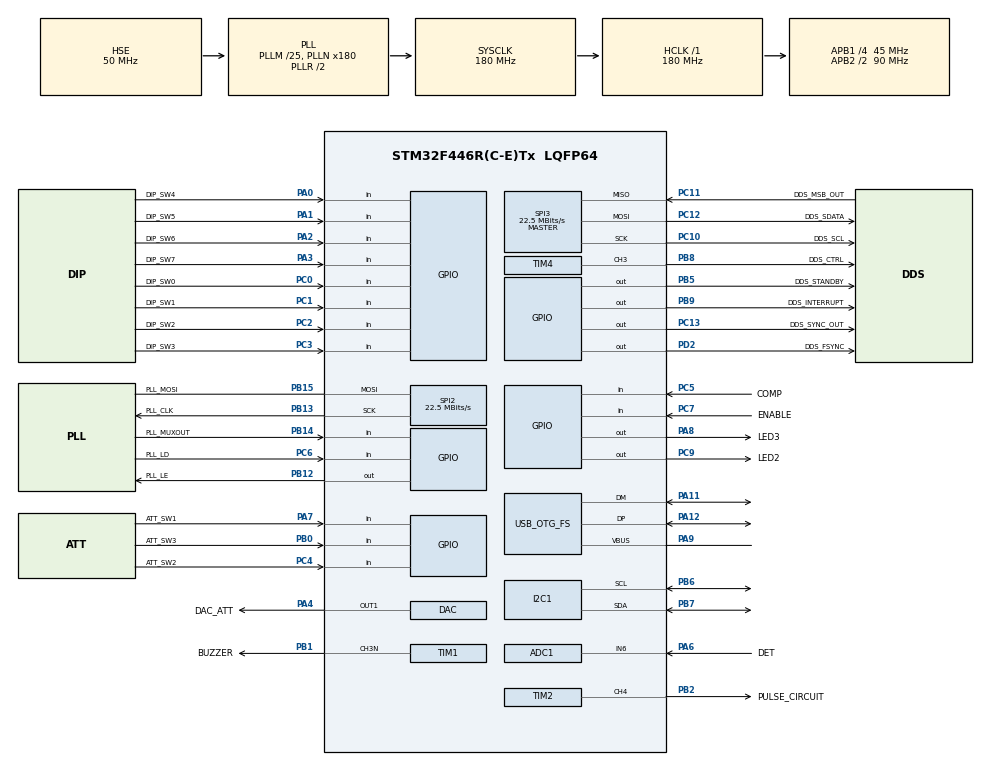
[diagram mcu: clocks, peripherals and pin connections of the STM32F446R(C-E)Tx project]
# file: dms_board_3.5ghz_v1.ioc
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ADC1.Channel-0\#ChannelRegularConversion=ADC_CHANNEL_6
ADC1.NbrOfConversionFlag=1
ADC1.Rank-0\#ChannelRegularConversion=1
ADC1.SamplingTime-0\#ChannelRegularConversion=ADC_SAMPLETIME_3CYCLES
ADC1.master=1
Dma.ADC1.0.Direction=DMA_PERIPH_TO_MEMORY
Dma.ADC1.0.FIFOMode=DMA_FIFOMODE_DISABLE
Dma.ADC1.0.Instance=DMA2_Stream0
Dma.ADC1.0.MemDataAlignment=DMA_MDATAALIGN_HALFWORD
Dma.ADC1.0.MemInc=DMA_MINC_ENABLE
Dma.ADC1.0.Mode=DMA_NORMAL
Dma.ADC1.0.PeriphDataAlignment=DMA_PDATAALIGN_HALFWORD
Dma.ADC1.0.PeriphInc=DMA_PINC_DISABLE
Dma.ADC1.0.Priority=DMA_PRIORITY_HIGH
Dma.Request0=ADC1
Mcu.Family=STM32F4
Mcu.Name=STM32F446R(C-E)Tx
Mcu.Package=LQFP64
NVIC.DMA2_Stream0_IRQn=true\:0\:0\:false\:false\:true\:false\:true\:true
NVIC.OTG_FS_IRQn=true\:0\:0\:false\:false\:true\:false\:true\:true
NVIC.PriorityGroup=NVIC_PRIORITYGROUP_4
NVIC.TIM3_IRQn=true\:0\:0\:false\:false\:true\:true\:true\:true
NVIC.TIM5_IRQn=true\:0\:0\:false\:false\:true\:true\:true\:true
PA0-WKUP.GPIO_Label=DIP_SW4
PA0-WKUP.Signal=GPIO_Input
PA1.GPIO_Label=DIP_SW5
PA1.Signal=GPIO_Input
PA11.Mode=Device_Only
PA11.Signal=USB_OTG_FS_DM
PA12.Mode=Device_Only
PA12.Signal=USB_OTG_FS_DP
PA13.Mode=JTAG_5_pins
PA13.Signal=SYS_JTMS-SWDIO
PA14.Mode=JTAG_5_pins
PA14.Signal=SYS_JTCK-SWCLK
PA15.Mode=JTAG_5_pins
PA15.Signal=SYS_JTDI
PA2.GPIO_Label=DIP_SW6
PA2.Signal=GPIO_Input
PA3.GPIO_Label=DIP_SW7
PA3.Signal=GPIO_Input
PA4.GPIO_Label=DAC_ATT
PA4.Signal=COMP_DAC1_group
PA6.GPIO_Label=DET
PA6.Signal=ADCx_IN6
PA7.GPIO_Label=ATT_SW1
PA7.Signal=GPIO_Input
PA8.GPIO_Label=LED3
PA8.Signal=GPIO_Output
PA9.Mode=Activate_VBUS
PA9.Signal=USB_OTG_FS_VBUS
PB0.GPIO_Label=ATT_SW3
PB0.Signal=GPIO_Input
PB1.GPIO_Label=BUZZER
PB1.Mode=Output Compare3 CH3N
PB1.Signal=TIM1_CH3N
PB12.GPIO_Label=PLL_LE
PB12.Signal=GPIO_Output
PB13.GPIO_Label=PLL_CLK
PB13.Mode=Simplex_Bidirectional_Master
PB13.Signal=SPI2_SCK
PB14.GPIO_Label=PLL_MUXOUT
PB14.Signal=GPIO_Input
PB15.GPIO_Label=PLL_MOSI
PB15.Mode=Simplex_Bidirectional_Master
PB15.Signal=SPI2_MOSI
PB2.GPIO_Label=PULSE_CIRCUIT
PB2.Signal=S_TIM2_CH4
PB3.Mode=JTAG_5_pins
PB3.Signal=SYS_JTDO-SWO
PB4.Mode=JTAG_5_pins
PB4.Signal=SYS_JTRST
PB5.GPIO_Label=DDS_STANDBY
PB5.Signal=GPIO_Output
PB6.Mode=I2C
PB6.Signal=I2C1_SCL
PB7.Mode=I2C
PB7.Signal=I2C1_SDA
PB8.GPIO_Label=DDS_CTRL
PB8.Signal=S_TIM4_CH3
PB9.GPIO_Label=DDS_INTERRUPT
PB9.Signal=GPIO_Output
PC0.GPIO_Label=DIP_SW0
PC0.Signal=GPIO_Input
PC1.GPIO_Label=DIP_SW1
PC1.Signal=GPIO_Input
PC10.GPIO_Label=DDS_SCL
PC10.Mode=Full_Duplex_Master
PC10.Signal=SPI3_SCK
PC11.GPIO_Label=DDS_MSB_OUT
PC11.Mode=Full_Duplex_Master
PC11.Signal=SPI3_MISO
PC12.GPIO_Label=DDS_SDATA
PC12.Mode=Full_Duplex_Master
PC12.Signal=SPI3_MOSI
PC13.GPIO_Label=DDS_SYNC_OUT
PC13.Signal=GPIO_Output
PC2.GPIO_Label=DIP_SW2
PC2.Signal=GPIO_Input
PC3.GPIO_Label=DIP_SW3
PC3.Signal=GPIO_Input
PC4.GPIO_Label=ATT_SW2
PC4.Signal=GPIO_Input
PC5.GPIO_Label=COMP
PC5.Signal=GPIO_Input
PC6.GPIO_Label=PLL_LD
PC6.Signal=GPIO_Input
PC7.GPIO_Label=ENABLE
PC7.Signal=GPIO_Input
PC9.GPIO_Label=LED2
PC9.Signal=GPIO_Output
PD2.GPIO_Label=DDS_FSYNC
PD2.Signal=GPIO_Output
PH0-OSC_IN.Mode=HSE-External-Clock-Source
PH0-OSC_IN.Signal=RCC_OSC_IN
PH1-OSC_OUT.Mode=HSE-External-Clock-Source
PH1-OSC_OUT.Signal=RCC_OSC_OUT
ProjectManager.HeapSize=0x600
ProjectManager.StackSize=0x600
ProjectManager.TargetToolchain=STM32CubeIDE
RCC.AHBFreq_Value=180000000
RCC.APB1CLKDivider=RCC_HCLK_DIV4
RCC.APB1Freq_Value=45000000
RCC.APB1TimFreq_Value=90000000
RCC.APB2CLKDivider=RCC_HCLK_DIV2
RCC.APB2Freq_Value=90000000
RCC.APB2TimFreq_Value=180000000
RCC.CortexFreq_Value=180000000
RCC.HCLKFreq_Value=180000000
RCC.HSE_VALUE=50000000
RCC.PLLM=25
RCC.PLLN=180
RCC.PLLSAIM=25
RCC.PLLSAIN=96
RCC.PLLSAIP=RCC_PLLSAIP_DIV4
RCC.SYSCLKFreq_VALUE=180000000
RCC.SYSCLKSource=RCC_SYSCLKSOURCE_PLLRCLK
RCC.USBCLockSelection=RCC_CLK48CLKSOURCE_PLLSAIP
RCC.USBFreq_Value=48000000
RCC.VCOOutputFreq_Value=360000000
SH.ADCx_IN6.0=ADC1_IN6,IN6
SH.COMP_DAC1_group.0=DAC_OUT1,DAC_OUT1
SH.S_TIM2_CH4.0=TIM2_CH4,Output Compare4 CH4
SH.S_TIM4_CH3.0=TIM4_CH3,Output Compare3 CH3
SPI2.CalculateBaudRate=22.5 MBits/s
SPI2.Direction=SPI_DIRECTION_1LINE
SPI2.Mode=SPI_MODE_MASTER
SPI2.VirtualType=VM_MASTER
SPI3.CalculateBaudRate=22.5 MBits/s
SPI3.Direction=SPI_DIRECTION_2LINES
SPI3.Mode=SPI_MODE_MASTER
SPI3.VirtualType=VM_MASTER
TIM1.Channel-Output\ Compare3\ CH3N=TIM_CHANNEL_3
TIM2.Channel-Output\ Compare4\ CH4=TIM_CHANNEL_4
TIM3.ClockDivision=TIM_CLOCKDIVISION_DIV2
TIM3.Period=10
TIM3.Prescaler=45
TIM4.Channel-Output\ Compare3\ CH3=TIM_CHANNEL_3
TIM5.ClockDivision=TIM_CLOCKDIVISION_DIV2
TIM5.Period=1000
TIM5.Prescaler=45
USB_DEVICE.CLASS_NAME_FS=CDC
USB_DEVICE.VirtualMode-CDC_FS=Cdc
USB_DEVICE.VirtualModeFS=Cdc_FS
USB_OTG_FS.VirtualMode=Device_Only
VP_TIM2_VS_ClockSourceINT.Mode=Internal
VP_TIM3_VS_ClockSourceINT.Mode=Internal
VP_TIM4_VS_ClockSourceINT.Mode=Internal
VP_TIM5_VS_ClockSourceINT.Mode=Internal
VP_TIM8_VS_ClockSourceINT.Mode=Internal
VP_USB_DEVICE_VS_USB_DEVICE_CDC_FS.Mode=CDC_FS
board=custom

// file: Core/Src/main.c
/* USER CODE BEGIN Header */
/**
  ******************************************************************************
  * @file           : main.c
  * @brief          : Main program body
  ******************************************************************************
  * @attention
  *
  * <h2><center>&copy; Copyright (c) 2020 STMicroelectronics.
  * All rights reserved.</center></h2>
  *
  * This software component is licensed by ST under BSD 3-Clause license,
  * the "License"; You may not use this file except in compliance with the
  * License. You may obtain a copy of the License at:
  *                        opensource.org/licenses/BSD-3-Clause
  *
  ******************************************************************************
  */
/* USER CODE END Header */
#include "main.h"
#include "usb_device.h"

ADC_HandleTypeDef hadc1;
DMA_HandleTypeDef hdma_adc1;

DAC_HandleTypeDef hdac;

I2C_HandleTypeDef hi2c1;

SPI_HandleTypeDef hspi2;
SPI_HandleTypeDef hspi3;

TIM_HandleTypeDef htim1;
TIM_HandleTypeDef htim2;
TIM_HandleTypeDef htim3;
TIM_HandleTypeDef htim4;
TIM_HandleTypeDef htim5;
TIM_HandleTypeDef htim8;

void SystemClock_Config(void);
static void MX_GPIO_Init(void);
static void MX_DMA_Init(void);
static void MX_ADC1_Init(void);
static void MX_DAC_Init(void);
static void MX_I2C1_Init(void);
static void MX_SPI2_Init(void);
static void MX_SPI3_Init(void);
static void MX_TIM1_Init(void);
static void MX_TIM4_Init(void);
static void MX_TIM3_Init(void);
static void MX_TIM5_Init(void);
static void MX_TIM8_Init(void);
static void MX_TIM2_Init(void);

int main(void)
{

  /* MCU Configuration--------------------------------------------------------*/

  /* Reset of all peripherals, Initializes the Flash interface and the Systick. */
  HAL_Init();

  /* Configure the system clock */
  SystemClock_Config();

  /* Initialize all configured peripherals */
  MX_GPIO_Init();
  MX_DMA_Init();
  MX_ADC1_Init();
  MX_DAC_Init();
  MX_I2C1_Init();
  MX_SPI2_Init();
  MX_SPI3_Init();
  MX_TIM1_Init();
  MX_TIM4_Init();
  //MX_USB_DEVICE_Init();
  MX_TIM3_Init();
  MX_TIM5_Init();
  MX_TIM8_Init();
  MX_TIM2_Init();
  /* USER CODE BEGIN 2 */
  dms_init ();	//	�?нициализация устройства.

  MX_USB_DEVICE_Init();	//	!!! Важно выполнить инициализацию USB после завершения.
  /* USER CODE END 2 */

  /* Infinite loop */
  while (1)
  {

    /* USER CODE BEGIN 3 */
	  dms_thread_func ();
  }
  /* USER CODE END 3 */
}

void SystemClock_Config(void)
{
  RCC_OscInitTypeDef RCC_OscInitStruct = {0};
  RCC_ClkInitTypeDef RCC_ClkInitStruct = {0};
  RCC_PeriphCLKInitTypeDef PeriphClkInitStruct = {0};

  /** Configure the main internal regulator output voltage
  */
  __HAL_RCC_PWR_CLK_ENABLE();
  __HAL_PWR_VOLTAGESCALING_CONFIG(PWR_REGULATOR_VOLTAGE_SCALE1);
  /** Initializes the RCC Oscillators according to the specified parameters
  * in the RCC_OscInitTypeDef structure.
  */
  RCC_OscInitStruct.OscillatorType = RCC_OSCILLATORTYPE_HSE;
  RCC_OscInitStruct.HSEState = RCC_HSE_BYPASS;
  RCC_OscInitStruct.PLL.PLLState = RCC_PLL_ON;
  RCC_OscInitStruct.PLL.PLLSource = RCC_PLLSOURCE_HSE;
  RCC_OscInitStruct.PLL.PLLM = 25;
  RCC_OscInitStruct.PLL.PLLN = 180;
  RCC_OscInitStruct.PLL.PLLP = RCC_PLLP_DIV2;
  RCC_OscInitStruct.PLL.PLLQ = 2;
  RCC_OscInitStruct.PLL.PLLR = 2;
  if (HAL_RCC_OscConfig(&RCC_OscInitStruct) != HAL_OK)
  {
    Error_Handler();
  }
  /** Activate the Over-Drive mode
  */
  if (HAL_PWREx_EnableOverDrive() != HAL_OK)
  {
    Error_Handler();
  }
  /** Initializes the CPU, AHB and APB buses clocks
  */
  RCC_ClkInitStruct.ClockType = RCC_CLOCKTYPE_HCLK|RCC_CLOCKTYPE_SYSCLK
                              |RCC_CLOCKTYPE_PCLK1|RCC_CLOCKTYPE_PCLK2;
  RCC_ClkInitStruct.SYSCLKSource = RCC_SYSCLKSOURCE_PLLRCLK;
  RCC_ClkInitStruct.AHBCLKDivider = RCC_SYSCLK_DIV1;
  RCC_ClkInitStruct.APB1CLKDivider = RCC_HCLK_DIV4;
  RCC_ClkInitStruct.APB2CLKDivider = RCC_HCLK_DIV2;

  if (HAL_RCC_ClockConfig(&RCC_ClkInitStruct, FLASH_LATENCY_5) != HAL_OK)
  {
    Error_Handler();
  }
  PeriphClkInitStruct.PeriphClockSelection = RCC_PERIPHCLK_CLK48;
  PeriphClkInitStruct.PLLSAI.PLLSAIM = 25;
  PeriphClkInitStruct.PLLSAI.PLLSAIN = 96;
  PeriphClkInitStruct.PLLSAI.PLLSAIQ = 2;
  PeriphClkInitStruct.PLLSAI.PLLSAIP = RCC_PLLSAIP_DIV4;
  PeriphClkInitStruct.PLLSAIDivQ = 1;
  PeriphClkInitStruct.Clk48ClockSelection = RCC_CLK48CLKSOURCE_PLLSAIP;
  if (HAL_RCCEx_PeriphCLKConfig(&PeriphClkInitStruct) != HAL_OK)
  {
    Error_Handler();
  }
}

static void MX_ADC1_Init(void)
{

  ADC_ChannelConfTypeDef sConfig = {0};

  /* USER CODE BEGIN ADC1_Init 1 */
#ifndef _DMS_
  /* USER CODE END ADC1_Init 1 */
  /** Configure the global features of the ADC (Clock, Resolution, Data Alignment and number of conversion)
  */
  hadc1.Instance = ADC1;
  hadc1.Init.ClockPrescaler = ADC_CLOCK_SYNC_PCLK_DIV4;
  hadc1.Init.Resolution = ADC_RESOLUTION_12B;
  hadc1.Init.ScanConvMode = DISABLE;
  hadc1.Init.ContinuousConvMode = DISABLE;
  hadc1.Init.DiscontinuousConvMode = DISABLE;
  hadc1.Init.ExternalTrigConvEdge = ADC_EXTERNALTRIGCONVEDGE_NONE;
  hadc1.Init.ExternalTrigConv = ADC_SOFTWARE_START;
  hadc1.Init.DataAlign = ADC_DATAALIGN_RIGHT;
  hadc1.Init.NbrOfConversion = 1;
  hadc1.Init.DMAContinuousRequests = DISABLE;
  hadc1.Init.EOCSelection = ADC_EOC_SINGLE_CONV;
  if (HAL_ADC_Init(&hadc1) != HAL_OK)
  {
    Error_Handler();
  }
  /** Configure for the selected ADC regular channel its corresponding rank in the sequencer and its sample time.
  */
  sConfig.Channel = ADC_CHANNEL_6;
  sConfig.Rank = 1;
  sConfig.SamplingTime = ADC_SAMPLETIME_3CYCLES;
  if (HAL_ADC_ConfigChannel(&hadc1, &sConfig) != HAL_OK)
  {
    Error_Handler();
  }
  /* USER CODE BEGIN ADC1_Init 2 */
#else
  hadc1.Instance                    = ADC1;
  hadc1.Init.ClockPrescaler         = ADC_CLOCK_SYNC_PCLK_DIV4;
  hadc1.Init.Resolution             = ADC_RESOLUTION_12B;
  hadc1.Init.ScanConvMode           = DISABLE;
  hadc1.Init.ContinuousConvMode     = ENABLE;
  hadc1.Init.DiscontinuousConvMode  = DISABLE;
  hadc1.Init.ExternalTrigConvEdge   = ADC_EXTERNALTRIGCONVEDGE_NONE;
  hadc1.Init.ExternalTrigConv       = ADC_SOFTWARE_START;
  hadc1.Init.DataAlign              = ADC_DATAALIGN_RIGHT;
  hadc1.Init.NbrOfConversion        = 1;
  hadc1.Init.DMAContinuousRequests  = DISABLE;
  hadc1.Init.EOCSelection           = ADC_EOC_SINGLE_CONV;
  if (HAL_ADC_Init(&hadc1) != HAL_OK)
  {
    Error_Handler();
  }

  sConfig.Channel       = ADC_CHANNEL_6;
  sConfig.Rank          = 1;
  sConfig.SamplingTime  = ADC_SAMPLETIME_3CYCLES;
  if (HAL_ADC_ConfigChannel(&hadc1, &sConfig) != HAL_OK)
  {
    Error_Handler();
  }
#endif	//	_DMS_
  /* USER CODE END ADC1_Init 2 */

}

static void MX_DAC_Init(void)
{

  DAC_ChannelConfTypeDef sConfig = {0};

  /** DAC Initialization
  */
  hdac.Instance = DAC;
  if (HAL_DAC_Init(&hdac) != HAL_OK)
  {
    Error_Handler();
  }
  /** DAC channel OUT1 config
  */
  sConfig.DAC_Trigger = DAC_TRIGGER_NONE;
  sConfig.DAC_OutputBuffer = DAC_OUTPUTBUFFER_ENABLE;
  if (HAL_DAC_ConfigChannel(&hdac, &sConfig, DAC_CHANNEL_1) != HAL_OK)
  {
    Error_Handler();
  }

}

static void MX_I2C1_Init(void)
{

  hi2c1.Instance = I2C1;
  hi2c1.Init.ClockSpeed = 100000;
  hi2c1.Init.DutyCycle = I2C_DUTYCYCLE_2;
  hi2c1.Init.OwnAddress1 = 0;
  hi2c1.Init.AddressingMode = I2C_ADDRESSINGMODE_7BIT;
  hi2c1.Init.DualAddressMode = I2C_DUALADDRESS_DISABLE;
  hi2c1.Init.OwnAddress2 = 0;
  hi2c1.Init.GeneralCallMode = I2C_GENERALCALL_DISABLE;
  hi2c1.Init.NoStretchMode = I2C_NOSTRETCH_DISABLE;
  if (HAL_I2C_Init(&hi2c1) != HAL_OK)
  {
    Error_Handler();
  }

}

static void MX_SPI2_Init(void)
{

  /* SPI2 parameter configuration*/
  hspi2.Instance = SPI2;
  hspi2.Init.Mode = SPI_MODE_MASTER;
  hspi2.Init.Direction = SPI_DIRECTION_1LINE;
  hspi2.Init.DataSize = SPI_DATASIZE_8BIT;
  hspi2.Init.CLKPolarity = SPI_POLARITY_LOW;
  hspi2.Init.CLKPhase = SPI_PHASE_1EDGE;
  hspi2.Init.NSS = SPI_NSS_SOFT;
  hspi2.Init.BaudRatePrescaler = SPI_BAUDRATEPRESCALER_2;
  hspi2.Init.FirstBit = SPI_FIRSTBIT_MSB;
  hspi2.Init.TIMode = SPI_TIMODE_DISABLE;
  hspi2.Init.CRCCalculation = SPI_CRCCALCULATION_DISABLE;
  hspi2.Init.CRCPolynomial = 10;
  if (HAL_SPI_Init(&hspi2) != HAL_OK)
  {
    Error_Handler();
  }

}

static void MX_SPI3_Init(void)
{

  /* SPI3 parameter configuration*/
  hspi3.Instance = SPI3;
  hspi3.Init.Mode = SPI_MODE_MASTER;
  hspi3.Init.Direction = SPI_DIRECTION_2LINES;
  hspi3.Init.DataSize = SPI_DATASIZE_8BIT;
  hspi3.Init.CLKPolarity = SPI_POLARITY_LOW;
  hspi3.Init.CLKPhase = SPI_PHASE_1EDGE;
  hspi3.Init.NSS = SPI_NSS_SOFT;
  hspi3.Init.BaudRatePrescaler = SPI_BAUDRATEPRESCALER_2;
  hspi3.Init.FirstBit = SPI_FIRSTBIT_MSB;
  hspi3.Init.TIMode = SPI_TIMODE_DISABLE;
  hspi3.Init.CRCCalculation = SPI_CRCCALCULATION_DISABLE;
  hspi3.Init.CRCPolynomial = 10;
  if (HAL_SPI_Init(&hspi3) != HAL_OK)
  {
    Error_Handler();
  }

}

static void MX_TIM1_Init(void)
{

  TIM_MasterConfigTypeDef sMasterConfig = {0};
  TIM_OC_InitTypeDef sConfigOC = {0};
  TIM_BreakDeadTimeConfigTypeDef sBreakDeadTimeConfig = {0};

  htim1.Instance = TIM1;
  htim1.Init.Prescaler = 0;
  htim1.Init.CounterMode = TIM_COUNTERMODE_UP;
  htim1.Init.Period = 65535;
  htim1.Init.ClockDivision = TIM_CLOCKDIVISION_DIV1;
  htim1.Init.RepetitionCounter = 0;
  htim1.Init.AutoReloadPreload = TIM_AUTORELOAD_PRELOAD_DISABLE;
  if (HAL_TIM_OC_Init(&htim1) != HAL_OK)
  {
    Error_Handler();
  }
  sMasterConfig.MasterOutputTrigger = TIM_TRGO_RESET;
  sMasterConfig.MasterSlaveMode = TIM_MASTERSLAVEMODE_DISABLE;
  if (HAL_TIMEx_MasterConfigSynchronization(&htim1, &sMasterConfig) != HAL_OK)
  {
    Error_Handler();
  }
  sConfigOC.OCMode = TIM_OCMODE_TIMING;
  sConfigOC.Pulse = 0;
  sConfigOC.OCPolarity = TIM_OCPOLARITY_HIGH;
  sConfigOC.OCNPolarity = TIM_OCNPOLARITY_HIGH;
  sConfigOC.OCFastMode = TIM_OCFAST_DISABLE;
  sConfigOC.OCIdleState = TIM_OCIDLESTATE_RESET;
  sConfigOC.OCNIdleState = TIM_OCNIDLESTATE_RESET;
  if (HAL_TIM_OC_ConfigChannel(&htim1, &sConfigOC, TIM_CHANNEL_3) != HAL_OK)
  {
    Error_Handler();
  }
  sBreakDeadTimeConfig.OffStateRunMode = TIM_OSSR_DISABLE;
  sBreakDeadTimeConfig.OffStateIDLEMode = TIM_OSSI_DISABLE;
  sBreakDeadTimeConfig.LockLevel = TIM_LOCKLEVEL_OFF;
  sBreakDeadTimeConfig.DeadTime = 0;
  sBreakDeadTimeConfig.BreakState = TIM_BREAK_DISABLE;
  sBreakDeadTimeConfig.BreakPolarity = TIM_BREAKPOLARITY_HIGH;
  sBreakDeadTimeConfig.AutomaticOutput = TIM_AUTOMATICOUTPUT_DISABLE;
  if (HAL_TIMEx_ConfigBreakDeadTime(&htim1, &sBreakDeadTimeConfig) != HAL_OK)
  {
    Error_Handler();
  }
  HAL_TIM_MspPostInit(&htim1);

}

static void MX_TIM2_Init(void)
{

  TIM_ClockConfigTypeDef sClockSourceConfig = {0};
  TIM_MasterConfigTypeDef sMasterConfig = {0};
  TIM_OC_InitTypeDef sConfigOC = {0};

  htim2.Instance = TIM2;
  htim2.Init.Prescaler = 0;
  htim2.Init.CounterMode = TIM_COUNTERMODE_UP;
  htim2.Init.Period = 4294967295;
  htim2.Init.ClockDivision = TIM_CLOCKDIVISION_DIV1;
  htim2.Init.AutoReloadPreload = TIM_AUTORELOAD_PRELOAD_DISABLE;
  if (HAL_TIM_Base_Init(&htim2) != HAL_OK)
  {
    Error_Handler();
  }
  sClockSourceConfig.ClockSource = TIM_CLOCKSOURCE_INTERNAL;
  if (HAL_TIM_ConfigClockSource(&htim2, &sClockSourceConfig) != HAL_OK)
  {
    Error_Handler();
  }
  if (HAL_TIM_OC_Init(&htim2) != HAL_OK)
  {
    Error_Handler();
  }
  sMasterConfig.MasterOutputTrigger = TIM_TRGO_RESET;
  sMasterConfig.MasterSlaveMode = TIM_MASTERSLAVEMODE_DISABLE;
  if (HAL_TIMEx_MasterConfigSynchronization(&htim2, &sMasterConfig) != HAL_OK)
  {
    Error_Handler();
  }
  sConfigOC.OCMode = TIM_OCMODE_TIMING;
  sConfigOC.Pulse = 0;
  sConfigOC.OCPolarity = TIM_OCPOLARITY_HIGH;
  sConfigOC.OCFastMode = TIM_OCFAST_DISABLE;
  if (HAL_TIM_OC_ConfigChannel(&htim2, &sConfigOC, TIM_CHANNEL_4) != HAL_OK)
  {
    Error_Handler();
  }
  HAL_TIM_MspPostInit(&htim2);

}

static void MX_TIM3_Init(void)
{

  TIM_ClockConfigTypeDef sClockSourceConfig = {0};
  TIM_MasterConfigTypeDef sMasterConfig = {0};

  htim3.Instance = TIM3;
  htim3.Init.Prescaler = 45;
  htim3.Init.CounterMode = TIM_COUNTERMODE_UP;
  htim3.Init.Period = 10;
  htim3.Init.ClockDivision = TIM_CLOCKDIVISION_DIV2;
  htim3.Init.AutoReloadPreload = TIM_AUTORELOAD_PRELOAD_DISABLE;
  if (HAL_TIM_Base_Init(&htim3) != HAL_OK)
  {
    Error_Handler();
  }
  sClockSourceConfig.ClockSource = TIM_CLOCKSOURCE_INTERNAL;
  if (HAL_TIM_ConfigClockSource(&htim3, &sClockSourceConfig) != HAL_OK)
  {
    Error_Handler();
  }
  sMasterConfig.MasterOutputTrigger = TIM_TRGO_RESET;
  sMasterConfig.MasterSlaveMode = TIM_MASTERSLAVEMODE_DISABLE;
  if (HAL_TIMEx_MasterConfigSynchronization(&htim3, &sMasterConfig) != HAL_OK)
  {
    Error_Handler();
  }

}

static void MX_TIM4_Init(void)
{

  TIM_ClockConfigTypeDef sClockSourceConfig = {0};
  TIM_MasterConfigTypeDef sMasterConfig = {0};
  TIM_OC_InitTypeDef sConfigOC = {0};

  htim4.Instance = TIM4;
  htim4.Init.Prescaler = 0;
  htim4.Init.CounterMode = TIM_COUNTERMODE_UP;
  htim4.Init.Period = 65535;
  htim4.Init.ClockDivision = TIM_CLOCKDIVISION_DIV1;
  htim4.Init.AutoReloadPreload = TIM_AUTORELOAD_PRELOAD_DISABLE;
  if (HAL_TIM_Base_Init(&htim4) != HAL_OK)
  {
    Error_Handler();
  }
  sClockSourceConfig.ClockSource = TIM_CLOCKSOURCE_INTERNAL;
  if (HAL_TIM_ConfigClockSource(&htim4, &sClockSourceConfig) != HAL_OK)
  {
    Error_Handler();
  }
  if (HAL_TIM_OC_Init(&htim4) != HAL_OK)
  {
    Error_Handler();
  }
  sMasterConfig.MasterOutputTrigger = TIM_TRGO_RESET;
  sMasterConfig.MasterSlaveMode = TIM_MASTERSLAVEMODE_DISABLE;
  if (HAL_TIMEx_MasterConfigSynchronization(&htim4, &sMasterConfig) != HAL_OK)
  {
    Error_Handler();
  }
  sConfigOC.OCMode = TIM_OCMODE_TIMING;
  sConfigOC.Pulse = 0;
  sConfigOC.OCPolarity = TIM_OCPOLARITY_HIGH;
  sConfigOC.OCFastMode = TIM_OCFAST_DISABLE;
  if (HAL_TIM_OC_ConfigChannel(&htim4, &sConfigOC, TIM_CHANNEL_3) != HAL_OK)
  {
    Error_Handler();
  }
  HAL_TIM_MspPostInit(&htim4);

}

static void MX_TIM5_Init(void)
{

  TIM_ClockConfigTypeDef sClockSourceConfig = {0};
  TIM_MasterConfigTypeDef sMasterConfig = {0};

  htim5.Instance = TIM5;
  htim5.Init.Prescaler = 45;
  htim5.Init.CounterMode = TIM_COUNTERMODE_UP;
  htim5.Init.Period = 1000;
  htim5.Init.ClockDivision = TIM_CLOCKDIVISION_DIV2;
  htim5.Init.AutoReloadPreload = TIM_AUTORELOAD_PRELOAD_DISABLE;
  if (HAL_TIM_Base_Init(&htim5) != HAL_OK)
  {
    Error_Handler();
  }
  sClockSourceConfig.ClockSource = TIM_CLOCKSOURCE_INTERNAL;
  if (HAL_TIM_ConfigClockSource(&htim5, &sClockSourceConfig) != HAL_OK)
  {
    Error_Handler();
  }
  sMasterConfig.MasterOutputTrigger = TIM_TRGO_RESET;
  sMasterConfig.MasterSlaveMode = TIM_MASTERSLAVEMODE_DISABLE;
  if (HAL_TIMEx_MasterConfigSynchronization(&htim5, &sMasterConfig) != HAL_OK)
  {
    Error_Handler();
  }

}

static void MX_TIM8_Init(void)
{

  TIM_ClockConfigTypeDef sClockSourceConfig = {0};
  TIM_MasterConfigTypeDef sMasterConfig = {0};

  htim8.Instance = TIM8;
  htim8.Init.Prescaler = 0;
  htim8.Init.CounterMode = TIM_COUNTERMODE_UP;
  htim8.Init.Period = 65535;
  htim8.Init.ClockDivision = TIM_CLOCKDIVISION_DIV1;
  htim8.Init.RepetitionCounter = 0;
  htim8.Init.AutoReloadPreload = TIM_AUTORELOAD_PRELOAD_DISABLE;
  if (HAL_TIM_Base_Init(&htim8) != HAL_OK)
  {
    Error_Handler();
  }
  sClockSourceConfig.ClockSource = TIM_CLOCKSOURCE_INTERNAL;
  if (HAL_TIM_ConfigClockSource(&htim8, &sClockSourceConfig) != HAL_OK)
  {
    Error_Handler();
  }
  sMasterConfig.MasterOutputTrigger = TIM_TRGO_RESET;
  sMasterConfig.MasterSlaveMode = TIM_MASTERSLAVEMODE_DISABLE;
  if (HAL_TIMEx_MasterConfigSynchronization(&htim8, &sMasterConfig) != HAL_OK)
  {
    Error_Handler();
  }

}

static void MX_DMA_Init(void)
{

  /* DMA controller clock enable */
  __HAL_RCC_DMA2_CLK_ENABLE();

  /* DMA interrupt init */
  /* DMA2_Stream0_IRQn interrupt configuration */
  HAL_NVIC_SetPriority(DMA2_Stream0_IRQn, 0, 0);
  HAL_NVIC_EnableIRQ(DMA2_Stream0_IRQn);

}

static void MX_GPIO_Init(void)
{
  GPIO_InitTypeDef GPIO_InitStruct = {0};

  /* GPIO Ports Clock Enable */
  __HAL_RCC_GPIOC_CLK_ENABLE();
  __HAL_RCC_GPIOH_CLK_ENABLE();
  __HAL_RCC_GPIOA_CLK_ENABLE();
  __HAL_RCC_GPIOB_CLK_ENABLE();
  __HAL_RCC_GPIOD_CLK_ENABLE();

  /*Configure GPIO pin Output Level */
  HAL_GPIO_WritePin(GPIOC, DDS_SYNC_OUT_Pin|LED2_Pin, GPIO_PIN_RESET);

  /*Configure GPIO pin Output Level */
  HAL_GPIO_WritePin(GPIOB, PLL_LE_Pin|DDS_STANDBY_Pin|DDS_INTERRUPT_Pin, GPIO_PIN_RESET);

  /*Configure GPIO pin Output Level */
  HAL_GPIO_WritePin(LED3_GPIO_Port, LED3_Pin, GPIO_PIN_RESET);

  /*Configure GPIO pin Output Level */
  HAL_GPIO_WritePin(DDS_FSYNC_GPIO_Port, DDS_FSYNC_Pin, GPIO_PIN_RESET);

  /*Configure GPIO pins : DDS_SYNC_OUT_Pin LED2_Pin */
  GPIO_InitStruct.Pin = DDS_SYNC_OUT_Pin|LED2_Pin;
  GPIO_InitStruct.Mode = GPIO_MODE_OUTPUT_PP;
  GPIO_InitStruct.Pull = GPIO_NOPULL;
  GPIO_InitStruct.Speed = GPIO_SPEED_FREQ_LOW;
  HAL_GPIO_Init(GPIOC, &GPIO_InitStruct);

  /*Configure GPIO pins : DIP_SW0_Pin DIP_SW1_Pin DIP_SW2_Pin DIP_SW3_Pin
                           ATT_SW2_Pin COMP_Pin PLL_LD_Pin ENABLE_Pin */
  GPIO_InitStruct.Pin = DIP_SW0_Pin|DIP_SW1_Pin|DIP_SW2_Pin|DIP_SW3_Pin
                          |ATT_SW2_Pin|COMP_Pin|PLL_LD_Pin|ENABLE_Pin;
  GPIO_InitStruct.Mode = GPIO_MODE_INPUT;
  GPIO_InitStruct.Pull = GPIO_NOPULL;
  HAL_GPIO_Init(GPIOC, &GPIO_InitStruct);

  /*Configure GPIO pins : DIP_SW4_Pin DIP_SW5_Pin DIP_SW6_Pin DIP_SW7_Pin
                           ATT_SW1_Pin */
  GPIO_InitStruct.Pin = DIP_SW4_Pin|DIP_SW5_Pin|DIP_SW6_Pin|DIP_SW7_Pin
                          |ATT_SW1_Pin;
  GPIO_InitStruct.Mode = GPIO_MODE_INPUT;
  GPIO_InitStruct.Pull = GPIO_NOPULL;
  HAL_GPIO_Init(GPIOA, &GPIO_InitStruct);

  /*Configure GPIO pins : ATT_SW3_Pin PLL_MUXOUT_Pin */
  GPIO_InitStruct.Pin = ATT_SW3_Pin|PLL_MUXOUT_Pin;
  GPIO_InitStruct.Mode = GPIO_MODE_INPUT;
  GPIO_InitStruct.Pull = GPIO_NOPULL;
  HAL_GPIO_Init(GPIOB, &GPIO_InitStruct);

  /*Configure GPIO pins : PLL_LE_Pin DDS_STANDBY_Pin DDS_INTERRUPT_Pin */
  GPIO_InitStruct.Pin = PLL_LE_Pin|DDS_STANDBY_Pin|DDS_INTERRUPT_Pin;
  GPIO_InitStruct.Mode = GPIO_MODE_OUTPUT_PP;
  GPIO_InitStruct.Pull = GPIO_NOPULL;
  GPIO_InitStruct.Speed = GPIO_SPEED_FREQ_LOW;
  HAL_GPIO_Init(GPIOB, &GPIO_InitStruct);

  /*Configure GPIO pin : LED3_Pin */
  GPIO_InitStruct.Pin = LED3_Pin;
  GPIO_InitStruct.Mode = GPIO_MODE_OUTPUT_PP;
  GPIO_InitStruct.Pull = GPIO_NOPULL;
  GPIO_InitStruct.Speed = GPIO_SPEED_FREQ_LOW;
  HAL_GPIO_Init(LED3_GPIO_Port, &GPIO_InitStruct);

  /*Configure GPIO pin : DDS_FSYNC_Pin */
  GPIO_InitStruct.Pin = DDS_FSYNC_Pin;
  GPIO_InitStruct.Mode = GPIO_MODE_OUTPUT_PP;
  GPIO_InitStruct.Pull = GPIO_NOPULL;
  GPIO_InitStruct.Speed = GPIO_SPEED_FREQ_LOW;
  HAL_GPIO_Init(DDS_FSYNC_GPIO_Port, &GPIO_InitStruct);

}

void Error_Handler(void)
{
}

/************************ (C) COPYRIGHT STMicroelectronics *****END OF FILE****/
